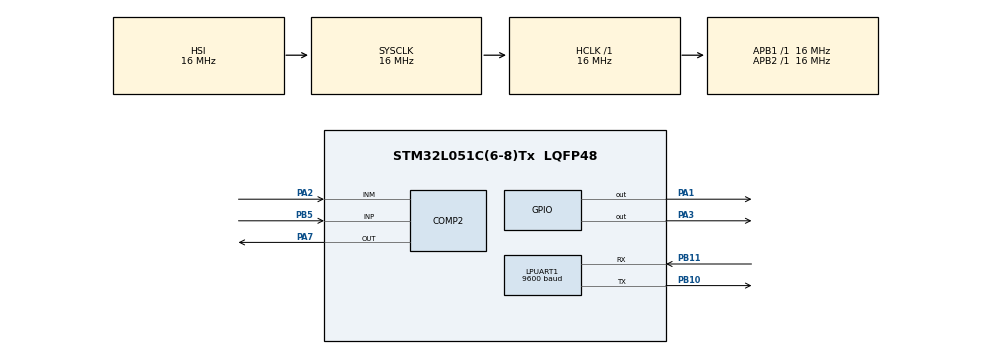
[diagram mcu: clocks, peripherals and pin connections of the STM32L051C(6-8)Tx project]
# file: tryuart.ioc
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COMP2.LPTIMConnection=COMP_LPTIMCONNECTION_IN1_ENABLED
LPUART1.BaudRate=9600
LPUART1.WordLength=UART_WORDLENGTH_8B
Mcu.Family=STM32L0
Mcu.Name=STM32L051C(6-8)Tx
Mcu.Package=LQFP48
PA1.Signal=GPIO_Output
PA13.Mode=Serial_Wire
PA13.Signal=SYS_SWDIO
PA14.Mode=Serial_Wire
PA14.Signal=SYS_SWCLK
PA2.Mode=INM
PA2.Signal=COMP2_INM
PA3.Signal=GPIO_Output
PA7.Mode=ExternalOutput
PA7.Signal=COMP2_OUT
PB10.Mode=Asynchronous
PB10.Signal=LPUART1_TX
PB11.Mode=Asynchronous
PB11.Signal=LPUART1_RX
PB5.Mode=INP
PB5.Signal=COMP2_INP
PC14-OSC32_IN.Mode=LSE-External-Oscillator
PC14-OSC32_IN.Signal=RCC_OSC32_IN
PC15-OSC32_OUT.Mode=LSE-External-Oscillator
PC15-OSC32_OUT.Signal=RCC_OSC32_OUT
PH0-OSC_IN.Mode=HSE-External-Oscillator
PH0-OSC_IN.Signal=RCC_OSC_IN
PH1-OSC_OUT.Mode=HSE-External-Oscillator
PH1-OSC_OUT.Signal=RCC_OSC_OUT
ProjectManager.HeapSize=0x200
ProjectManager.StackSize=0x400
ProjectManager.TargetToolchain=STM32CubeIDE
RCC.AHBFreq_Value=16000000
RCC.APB1Freq_Value=16000000
RCC.APB1TimFreq_Value=16000000
RCC.APB2Freq_Value=16000000
RCC.APB2TimFreq_Value=16000000
RCC.HCLKFreq_Value=16000000
RCC.HSE_VALUE=8000000
RCC.HSI16_VALUE=16000000
RCC.HSI_VALUE=16000000
RCC.MSI_VALUE=2097000
RCC.PLLMUL=RCC_PLLMUL_6
RCC.PLLSourceVirtual=RCC_PLLSOURCE_HSE
RCC.SYSCLKFreq_VALUE=16000000
RCC.SYSCLKSource=RCC_SYSCLKSOURCE_HSI
RCC.VCOOutputFreq_Value=48000000
VP_LPTIM1_VS_COMP1_LPTIM.Mode=Counts_external_clock_with_synchro_01_occur2
board=custom

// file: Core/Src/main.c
/* USER CODE BEGIN Header */
/**
  ******************************************************************************
  * @file           : main.c
  * @brief          : Main program body
  ******************************************************************************
  * @attention
  *
  * Copyright (c) 2023 STMicroelectronics.
  * All rights reserved.
  *
  * This software is licensed under terms that can be found in the LICENSE file
  * in the root directory of this software component.
  * If no LICENSE file comes with this software, it is provided AS-IS.
  *
  ******************************************************************************
  */
/* USER CODE END Header */
#include "main.h"

/* USER CODE BEGIN Includes */
#include "lc_sensor_metering.h"
#include "stdio.h"
#include "stdint.h"
#include "string.h"
#include "stm32l0xx_hal.h"

/* USER CODE END Includes */

/* USER CODE BEGIN PTD */
LcSensor_Sensor_f LcSensor1;
LcSensor_LcStatus_f LcStatus;
/* USER CODE END PTD */

COMP_HandleTypeDef hcomp2;

LPTIM_HandleTypeDef hlptim1;

UART_HandleTypeDef hlpuart1;

void SystemClock_Config(void);
static void MX_GPIO_Init(void);
static void MX_LPUART1_UART_Init(void);
static void MX_LPTIM1_Init(void);
static void MX_COMP2_Init(void);
/* USER CODE BEGIN PFP */
static void LC_Init_GPIO(void);
void LPUART_Transmit_String(const char *str);
void lcmeasure(void);
void LcSensorInit(void);
void lctransmit (void);
/* USER CODE END PFP */

int main(void)
{

  /* MCU Configuration--------------------------------------------------------*/

  /* Reset of all peripherals, Initializes the Flash interface and the Systick. */
  HAL_Init();

  /* Configure the system clock */
  SystemClock_Config();

  /* Initialize all configured peripherals */
  MX_GPIO_Init();
  MX_LPUART1_UART_Init();
  MX_LPTIM1_Init();
  MX_COMP2_Init();
  /* USER CODE BEGIN 2 */
  LC_Init_GPIO();
  HAL_LPTIM_Counter_Start(&hlptim1, (uint32_t) 0xFFFF);
  HAL_COMP_Start(&hcomp2);
  /* USER CODE END 2 */

  /* Infinite loop */
  /* USER CODE BEGIN WHILE */
  while (1)
  {
	LcSensorInit();
	HAL_GPIO_WritePin(GPIOA, GPIO_PIN_3, SET);
	HAL_GPIO_WritePin(GPIOA, GPIO_PIN_1, SET);
	HAL_Delay(80);
	/*uint32_t counterValue = HAL_LPTIM_ReadCounter(&hlptim1);
	char aMessage[50];
	sprintf(aMessage, "Counter Value: %lu\n", counterValue);
	LPUART_Transmit_String(aMessage);
	HAL_Delay(1000); // Jeda 1 detik*/
	lcmeasure();
	lctransmit();

	/*

    /* USER CODE END WHILE */

  }
}

void SystemClock_Config(void)
{
  RCC_OscInitTypeDef RCC_OscInitStruct = {0};
  RCC_ClkInitTypeDef RCC_ClkInitStruct = {0};
  RCC_PeriphCLKInitTypeDef PeriphClkInit = {0};

  /** Configure the main internal regulator output voltage
  */
  __HAL_PWR_VOLTAGESCALING_CONFIG(PWR_REGULATOR_VOLTAGE_SCALE1);

  /** Initializes the RCC Oscillators according to the specified parameters
  * in the RCC_OscInitTypeDef structure.
  */
  RCC_OscInitStruct.OscillatorType = RCC_OSCILLATORTYPE_HSI;
  RCC_OscInitStruct.HSIState = RCC_HSI_ON;
  RCC_OscInitStruct.HSICalibrationValue = RCC_HSICALIBRATION_DEFAULT;
  RCC_OscInitStruct.PLL.PLLState = RCC_PLL_NONE;
  if (HAL_RCC_OscConfig(&RCC_OscInitStruct) != HAL_OK)
  {
    Error_Handler();
  }

  /** Initializes the CPU, AHB and APB buses clocks
  */
  RCC_ClkInitStruct.ClockType = RCC_CLOCKTYPE_HCLK|RCC_CLOCKTYPE_SYSCLK
                              |RCC_CLOCKTYPE_PCLK1|RCC_CLOCKTYPE_PCLK2;
  RCC_ClkInitStruct.SYSCLKSource = RCC_SYSCLKSOURCE_HSI;
  RCC_ClkInitStruct.AHBCLKDivider = RCC_SYSCLK_DIV1;
  RCC_ClkInitStruct.APB1CLKDivider = RCC_HCLK_DIV1;
  RCC_ClkInitStruct.APB2CLKDivider = RCC_HCLK_DIV1;

  if (HAL_RCC_ClockConfig(&RCC_ClkInitStruct, FLASH_LATENCY_0) != HAL_OK)
  {
    Error_Handler();
  }
  PeriphClkInit.PeriphClockSelection = RCC_PERIPHCLK_LPUART1|RCC_PERIPHCLK_LPTIM1;
  PeriphClkInit.Lpuart1ClockSelection = RCC_LPUART1CLKSOURCE_PCLK1;
  PeriphClkInit.LptimClockSelection = RCC_LPTIM1CLKSOURCE_PCLK;

  if (HAL_RCCEx_PeriphCLKConfig(&PeriphClkInit) != HAL_OK)
  {
    Error_Handler();
  }
}

static void MX_COMP2_Init(void)
{

  hcomp2.Instance = COMP2;
  hcomp2.Init.InvertingInput = COMP_INPUT_MINUS_IO1;
  hcomp2.Init.NonInvertingInput = COMP_INPUT_PLUS_IO3;
  hcomp2.Init.LPTIMConnection = COMP_LPTIMCONNECTION_IN1_ENABLED;
  hcomp2.Init.OutputPol = COMP_OUTPUTPOL_NONINVERTED;
  hcomp2.Init.Mode = COMP_POWERMODE_MEDIUMSPEED;
  hcomp2.Init.WindowMode = COMP_WINDOWMODE_DISABLE;
  hcomp2.Init.TriggerMode = COMP_TRIGGERMODE_NONE;
  if (HAL_COMP_Init(&hcomp2) != HAL_OK)
  {
    Error_Handler();
  }

}

static void MX_LPTIM1_Init(void)
{

  hlptim1.Instance = LPTIM1;
  hlptim1.Init.Clock.Source = LPTIM_CLOCKSOURCE_APBCLOCK_LPOSC;
  hlptim1.Init.Clock.Prescaler = LPTIM_PRESCALER_DIV1;
  hlptim1.Init.UltraLowPowerClock.Polarity = LPTIM_CLOCKPOLARITY_RISING;
  hlptim1.Init.UltraLowPowerClock.SampleTime = LPTIM_CLOCKSAMPLETIME_DIRECTTRANSITION;
  hlptim1.Init.Trigger.Source = LPTIM_TRIGSOURCE_SOFTWARE;
  hlptim1.Init.OutputPolarity = LPTIM_OUTPUTPOLARITY_HIGH;
  hlptim1.Init.UpdateMode = LPTIM_UPDATE_IMMEDIATE;
  hlptim1.Init.CounterSource = LPTIM_COUNTERSOURCE_EXTERNAL;
  if (HAL_LPTIM_Init(&hlptim1) != HAL_OK)
  {
    Error_Handler();
  }

}

static void MX_LPUART1_UART_Init(void)
{

  hlpuart1.Instance = LPUART1;
  hlpuart1.Init.BaudRate = 9600;
  hlpuart1.Init.WordLength = UART_WORDLENGTH_8B;
  hlpuart1.Init.StopBits = UART_STOPBITS_1;
  hlpuart1.Init.Parity = UART_PARITY_NONE;
  hlpuart1.Init.Mode = UART_MODE_TX_RX;
  hlpuart1.Init.HwFlowCtl = UART_HWCONTROL_NONE;
  hlpuart1.Init.OneBitSampling = UART_ONE_BIT_SAMPLE_DISABLE;
  hlpuart1.AdvancedInit.AdvFeatureInit = UART_ADVFEATURE_NO_INIT;
  if (HAL_UART_Init(&hlpuart1) != HAL_OK)
  {
    Error_Handler();
  }

}

static void MX_GPIO_Init(void)
{
  GPIO_InitTypeDef GPIO_InitStruct = {0};

  /* GPIO Ports Clock Enable */
  __HAL_RCC_GPIOC_CLK_ENABLE();
  __HAL_RCC_GPIOH_CLK_ENABLE();
  __HAL_RCC_GPIOA_CLK_ENABLE();
  __HAL_RCC_GPIOB_CLK_ENABLE();

  /*Configure GPIO pin Output Level */
  HAL_GPIO_WritePin(GPIOA, GPIO_PIN_1|GPIO_PIN_3, GPIO_PIN_RESET);

  /*Configure GPIO pins : PA1 PA3 */
  GPIO_InitStruct.Pin = GPIO_PIN_1|GPIO_PIN_3;
  GPIO_InitStruct.Mode = GPIO_MODE_OUTPUT_PP;
  GPIO_InitStruct.Pull = GPIO_NOPULL;
  GPIO_InitStruct.Speed = GPIO_SPEED_FREQ_LOW;
  HAL_GPIO_Init(GPIOA, &GPIO_InitStruct);

}

/* USER CODE BEGIN 4 */
static void LC_Init_GPIO(void)
{
	  GPIO_InitTypeDef GPIO_InitStruct;

	  /* GPIO Ports Clock Enable */
	__HAL_RCC_GPIOH_CLK_ENABLE();
	__HAL_RCC_GPIOA_CLK_ENABLE();
	__HAL_RCC_GPIOB_CLK_ENABLE();
	__HAL_RCC_GPIOC_CLK_ENABLE();
	__HAL_RCC_GPIOD_CLK_ENABLE();

	/* Allows to release NJTRST pin and to use PB5 pin for LC sensor*/
	GPIO_InitStruct.Mode = GPIO_MODE_AF_PP;
	GPIO_InitStruct.Alternate = GPIO_AF7_COMP2;
	GPIO_InitStruct.Speed = GPIO_SPEED_FREQ_LOW;
	GPIO_InitStruct.Pull = GPIO_NOPULL;
	GPIO_InitStruct.Pin = GPIO_PIN_5;
	HAL_GPIO_Init(GPIOB, &GPIO_InitStruct);

	GPIO_InitStruct.Pin = GPIO_PIN_0 | GPIO_PIN_2 | GPIO_PIN_4
							| GPIO_PIN_5 | GPIO_PIN_6| GPIO_PIN_8| GPIO_PIN_9
							| GPIO_PIN_10 | GPIO_PIN_11  ;
	GPIO_InitStruct.Mode = GPIO_MODE_ANALOG;
	GPIO_InitStruct.Pull = GPIO_NOPULL;
	HAL_GPIO_Init(GPIOA, &GPIO_InitStruct);

	GPIO_InitStruct.Pin = GPIO_PIN_All;
	GPIO_InitStruct.Mode = GPIO_MODE_ANALOG;
	GPIO_InitStruct.Pull = GPIO_PULLDOWN;
	HAL_GPIO_Init(GPIOB, &GPIO_InitStruct);
	HAL_GPIO_Init(GPIOC, &GPIO_InitStruct);
	HAL_GPIO_Init(GPIOD, &GPIO_InitStruct);
	HAL_GPIO_Init(GPIOH, &GPIO_InitStruct);

	/*Configure GPIO pins : USART_TX_Pin USART_RX_Pin */
	GPIO_InitStruct.Pin = GPIO_PIN_10 | GPIO_PIN_11;
	GPIO_InitStruct.Mode = GPIO_MODE_AF_PP;
	GPIO_InitStruct.Pull = GPIO_NOPULL;
	GPIO_InitStruct.Speed = GPIO_SPEED_FREQ_VERY_HIGH;
	GPIO_InitStruct.Alternate = GPIO_AF4_LPUART1;
	HAL_GPIO_Init(GPIOB, &GPIO_InitStruct);

	/* Configure COMP2 non-inverting input pin configuration */
	GPIO_InitStruct.Mode = GPIO_MODE_ANALOG;
	GPIO_InitStruct.Speed = GPIO_SPEED_HIGH;
	GPIO_InitStruct.Pull = GPIO_NOPULL;
	GPIO_InitStruct.Pin = GPIO_PIN_5;
	HAL_GPIO_Init(GPIOB, &GPIO_InitStruct);

	/* Configure COMP2 output pin configuration for debug*/
	GPIO_InitStruct.Pin = GPIO_PIN_7;
	GPIO_InitStruct.Mode = GPIO_MODE_AF_PP;
	GPIO_InitStruct.Pull = GPIO_NOPULL;
	GPIO_InitStruct.Speed = GPIO_SPEED_FAST;
	GPIO_InitStruct.Alternate = GPIO_AF7_COMP2;
	HAL_GPIO_Init(GPIOA, &GPIO_InitStruct);
}

void LPUART_Transmit_String(const char *str) {
	HAL_UART_Transmit(&hlpuart1, (uint8_t*)str, strlen(str), HAL_MAX_DELAY);
   }

void LcSensorInit(void)
{
  /* Initialize Lc status variables */
  LcStatus.MeasuresCount = 0;                   /* Reset measures counter to 0 */
  LcStatus.EdgeCount = 0;                       /* Reset edge counter to 0 */
  /* Initialize LcSensor status */
  LcSensor1.Status = NO_METAL;                  /* Variable used to store sensor status - 0 = NO_METAL , 1 = METAL*/
  LcSensor1.PreviousStatus = NO_METAL;          /* Variable used to store previous sensor status (for transition detection)- 0 = NO_METAL , 1 = METAL*/
  LcSensor1.CountDetect = 2;
}

void lcmeasure(void)
{
	uint32_t counterValue = HAL_LPTIM_ReadCounter(&hlptim1);
	/* If oscillations are damped more than Count_detect then update Sensor 1 status */
	if (counterValue < LcSensor1.CountDetect)
	{
	    LcSensor1.Status = METAL;
	  }
	  else
	  {
	    LcSensor1.Status = NO_METAL;
	}
	/* Process edge count for Demo1*/
	/* Detect sensors transitions for Counting demo with 1 LC sensor*/
	if ((LcSensor1.Status || LcSensor1.PreviousStatus) && !(LcSensor1.Status && LcSensor1.PreviousStatus ))
	{
	    LcStatus.EdgeCount++;
	}
	/* Refresh PreviousStatus for next transition detection*/
	  LcSensor1.PreviousStatus = LcSensor1.Status;

}
void lctransmit (void)
{
	uint8_t aMsgBuffer[30];
	/* local variables from global volatile variables to avoid compilations and executions issues */
	uint8_t status;
	uint32_t edge_count;
	status = LcSensor1.Status;
	edge_count = LcStatus.EdgeCount;
	/* Fill buffer */
	sprintf((char*)aMsgBuffer, "S:%d\tE:%lu\r\n", status, edge_count);
	/* USART2 Transmit */
	  HAL_UART_Transmit(&hlpuart1, aMsgBuffer, TXBUFFERSIZE(aMsgBuffer), 0xFFFF);
}
/* USER CODE END 4 */

void Error_Handler(void)
{
  __disable_irq();
  while (1)
  {
  }
}
